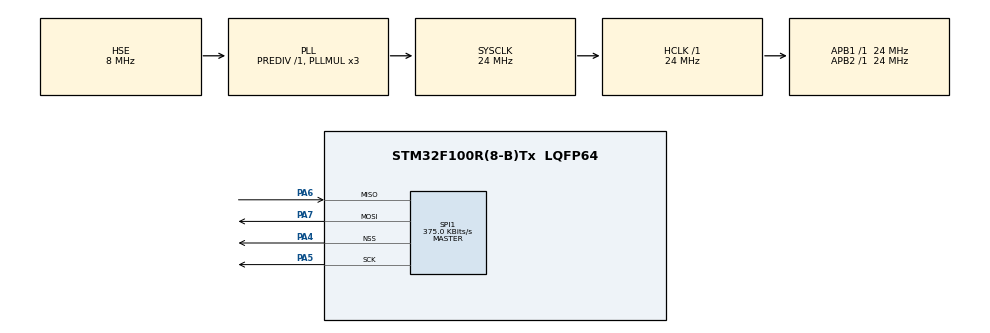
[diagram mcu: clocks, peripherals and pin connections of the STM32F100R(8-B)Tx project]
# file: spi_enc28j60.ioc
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Mcu.Family=STM32F1
Mcu.Name=STM32F100R(8-B)Tx
Mcu.Package=LQFP64
NVIC.PriorityGroup=NVIC_PRIORITYGROUP_4
PA13.Mode=Serial_Wire
PA13.Signal=SYS_JTMS-SWDIO
PA14.Mode=Serial_Wire
PA14.Signal=SYS_JTCK-SWCLK
PA4.Mode=NSS_Signal_Hard_Output
PA4.Signal=SPI1_NSS
PA5.Mode=Full_Duplex_Master
PA5.Signal=SPI1_SCK
PA6.Mode=Full_Duplex_Master
PA6.Signal=SPI1_MISO
PA7.Mode=Full_Duplex_Master
PA7.Signal=SPI1_MOSI
PD0-OSC_IN.Mode=HSE-External-Oscillator
PD0-OSC_IN.Signal=RCC_OSC_IN
PD1-OSC_OUT.Mode=HSE-External-Oscillator
PD1-OSC_OUT.Signal=RCC_OSC_OUT
ProjectManager.TargetToolchain=MDK-ARM V5
RCC.AHBFreq_Value=24000000
RCC.APB1Freq_Value=24000000
RCC.APB1TimFreq_Value=24000000
RCC.APB2Freq_Value=24000000
RCC.APB2TimFreq_Value=24000000
RCC.HCLKFreq_Value=24000000
RCC.PLLMUL=RCC_PLL_MUL3
RCC.PLLSource=RCC_PLLSOURCE_HSE
RCC.SYSCLKFreq_VALUE=24000000
RCC.SYSCLKSource=RCC_SYSCLKSOURCE_PLLCLK
SPI1.BaudRatePrescaler=SPI_BAUDRATEPRESCALER_64
SPI1.CalculateBaudRate=375.0 KBits/s
SPI1.Mode=SPI_MODE_MASTER
SPI1.VirtualNSS=VM_NSSHARD
board=spi_enc28j60

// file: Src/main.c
/**
  ******************************************************************************
  * File Name          : main.c
  * Description        : Main program body
  ******************************************************************************
  *
  * COPYRIGHT(c) 2016 STMicroelectronics
  *
  * Redistribution and use in source and binary forms, with or without modification,
  * are permitted provided that the following conditions are met:
  *   1. Redistributions of source code must retain the above copyright notice,
  *      this list of conditions and the following disclaimer.
  *   2. Redistributions in binary form must reproduce the above copyright notice,
  *      this list of conditions and the following disclaimer in the documentation
  *      and/or other materials provided with the distribution.
  *   3. Neither the name of STMicroelectronics nor the names of its contributors
  *      may be used to endorse or promote products derived from this software
  *      without specific prior written permission.
  *
  * THIS SOFTWARE IS PROVIDED BY THE COPYRIGHT HOLDERS AND CONTRIBUTORS "AS IS"
  * AND ANY EXPRESS OR IMPLIED WARRANTIES, INCLUDING, BUT NOT LIMITED TO, THE
  * IMPLIED WARRANTIES OF MERCHANTABILITY AND FITNESS FOR A PARTICULAR PURPOSE ARE
  * DISCLAIMED. IN NO EVENT SHALL THE COPYRIGHT HOLDER OR CONTRIBUTORS BE LIABLE
  * FOR ANY DIRECT, INDIRECT, INCIDENTAL, SPECIAL, EXEMPLARY, OR CONSEQUENTIAL
  * DAMAGES (INCLUDING, BUT NOT LIMITED TO, PROCUREMENT OF SUBSTITUTE GOODS OR
  * SERVICES; LOSS OF USE, DATA, OR PROFITS; OR BUSINESS INTERRUPTION) HOWEVER
  * CAUSED AND ON ANY THEORY OF LIABILITY, WHETHER IN CONTRACT, STRICT LIABILITY,
  * OR TORT (INCLUDING NEGLIGENCE OR OTHERWISE) ARISING IN ANY WAY OUT OF THE USE
  * OF THIS SOFTWARE, EVEN IF ADVISED OF THE POSSIBILITY OF SUCH DAMAGE.
  *
  ******************************************************************************
  */
#include "stm32f1xx_hal.h"
#include "spi.h"
#include "gpio.h"
#include "uip.h"
#include "uip_arp.h"
#include "enc28j60.h"
#include "delay.h"

/* USER CODE BEGIN PV */
/* Private variables ---------------------------------------------------------*/
uint8_t datar[8] ;
/* USER CODE END PV */

void SystemClock_Config(void);

/* USER CODE BEGIN PFP */
/* Private function prototypes -----------------------------------------------*/

/* USER CODE END PFP */

/* USER CODE BEGIN 0 */

void uip_log(char *m)
{
  printf("uIP log message: %s\n", m);
}

void vTask_uIP_periodic(void)
{
	uint32_t i;
	static uint8_t delay_arp = 0;
   static uint32_t delaystamp = 0;

   if (delaystamp < timestamp)
   {
		delay_arp++;
		for (i = 0; i < UIP_CONNS; i++)
      {
			uip_periodic(i);
			if (uip_len > 0)
         {
				uip_arp_out();
				enc28j60_send_packet((uint8_t *) uip_buf, uip_len);
			}
		}

#if UIP_UDP
		for(i = 0; i < UIP_UDP_CONNS; i++)
      {
			uip_udp_periodic(i);
			if(uip_len > 0)
         {
				uip_arp_out();
				network_send();
			}
		}
#endif /* UIP_UDP */

		if (delay_arp >= 50)
      {
			delay_arp = 0;
			uip_arp_timer();
		}
      delaystamp = timestamp + 500000;

   }
}
//--------------------------------------------------------------
void vTask_uIP(void)
{
   uip_len = enc28j60_recv_packet((uint8_t *) uip_buf, UIP_BUFSIZE);
   #define BUF ((struct uip_eth_hdr *)&uip_buf[0])

   if (uip_len > 0)
   {
      if (BUF->type == htons(UIP_ETHTYPE_IP))
      {
         uip_arp_ipin();
         uip_input();
         if (uip_len > 0)
         {
            uip_arp_out();
            enc28j60_send_packet((uint8_t *) uip_buf, uip_len);
         }
      }
      else if (BUF->type == htons(UIP_ETHTYPE_ARP))
      {
         uip_arp_arpin();
         if (uip_len > 0)
         {
            enc28j60_send_packet((uint8_t *) uip_buf, uip_len);
         }
      }
   }
}
/* USER CODE END 0 */

int main(void)
{

  /* MCU Configuration----------------------------------------------------------*/

  /* Reset of all peripherals, Initializes the Flash interface and the Systick. */
  HAL_Init();

  /* Configure the system clock */
  SystemClock_Config();

  /* Initialize all configured peripherals */
  MX_GPIO_Init();
 MX_SPI1_Init();

  /* USER CODE BEGIN 2 */
struct uip_eth_addr mac = { { 0x00, 0x12, 0x34, 0x56, 0x78, 0x00 } };
   uip_ipaddr_t ipaddr;
	enc28j60_init(mac.addr);
	uip_init();
	uip_arp_init();
	hello_world_init();
	uip_setethaddr(mac);
	uip_ipaddr(ipaddr, 192, 168, 0, 57);
	uip_sethostaddr(ipaddr);
	uip_ipaddr(ipaddr, 192, 168, 0, 1);
	uip_setdraddr(ipaddr);
	uip_ipaddr(ipaddr, 255, 255, 255, 0);
	uip_setnetmask(ipaddr);
  /* USER CODE END 2 */

  /* Infinite loop */
  while (1)
  {

		vTask_uIP_periodic();
      vTask_uIP();

//HAL_GPIO_WritePin(GPIOA,GPIO_PIN_4, GPIO_PIN_RESET);
//			HAL_SPI_Receive(&hspi1,  &datar[0], 1,100);
//	HAL_GPIO_WritePin(GPIOA,GPIO_PIN_4, GPIO_PIN_SET);
  }

}

/** System Clock Configuration
*/
void SystemClock_Config(void)
{

  RCC_OscInitTypeDef RCC_OscInitStruct;
  RCC_ClkInitTypeDef RCC_ClkInitStruct;

  RCC_OscInitStruct.OscillatorType = RCC_OSCILLATORTYPE_HSE;
  RCC_OscInitStruct.HSEState = RCC_HSE_ON;
  RCC_OscInitStruct.HSEPredivValue = RCC_HSE_PREDIV_DIV1;
  RCC_OscInitStruct.PLL.PLLState = RCC_PLL_ON;
  RCC_OscInitStruct.PLL.PLLSource = RCC_PLLSOURCE_HSE;
  RCC_OscInitStruct.PLL.PLLMUL = RCC_PLL_MUL3;
  HAL_RCC_OscConfig(&RCC_OscInitStruct);

  RCC_ClkInitStruct.ClockType = RCC_CLOCKTYPE_SYSCLK;
  RCC_ClkInitStruct.SYSCLKSource = RCC_SYSCLKSOURCE_PLLCLK;
  RCC_ClkInitStruct.AHBCLKDivider = RCC_SYSCLK_DIV1;
  RCC_ClkInitStruct.APB1CLKDivider = RCC_HCLK_DIV1;
  RCC_ClkInitStruct.APB2CLKDivider = RCC_HCLK_DIV1;
  HAL_RCC_ClockConfig(&RCC_ClkInitStruct, FLASH_LATENCY_0);

  HAL_SYSTICK_Config(HAL_RCC_GetHCLKFreq()/1000);

  HAL_SYSTICK_CLKSourceConfig(SYSTICK_CLKSOURCE_HCLK);

  /* SysTick_IRQn interrupt configuration */
  HAL_NVIC_SetPriority(SysTick_IRQn, 0, 0);
}

/************************ (C) COPYRIGHT STMicroelectronics *****END OF FILE****/
